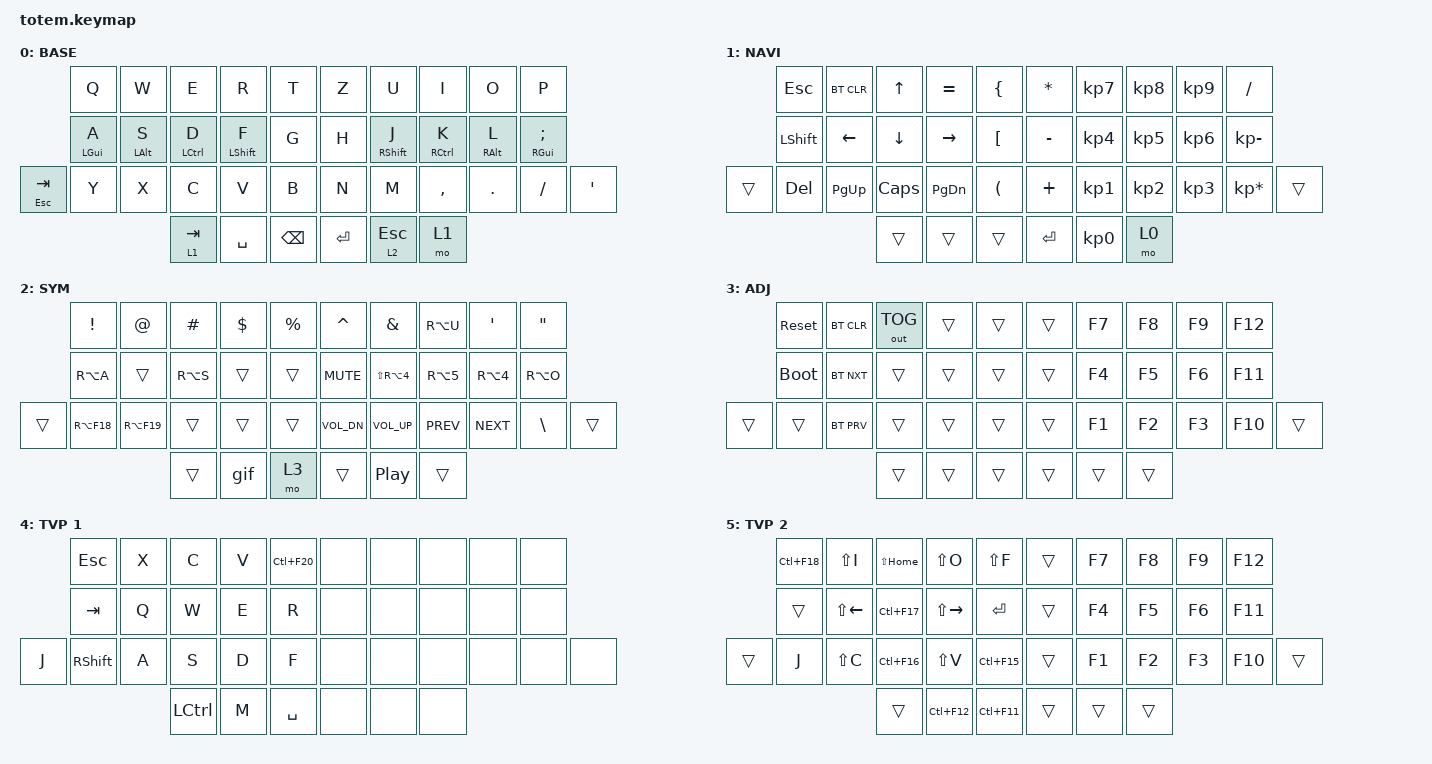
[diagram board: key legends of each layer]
//
//                                                        ▀▀▀▀▀     ▀▀▀▀▀          ▀▀█▀▀
//                                                        ▄▀▀▀▄  ▄  ▄▀▀▀▄  ▄  ▄▀▀▀▄  █  ▄▀▀▀▄
//                                                        █   █  █  █   █  █  █   █  █  █   █
//                                                         ▀▀▀   █   ▀▀▀   █   ▀▀▀   ▀   ▀▀▀
//                                                               █      ▄▄▄█▄▄▄    █   █  
//                                                               ▀      █  █  █     █▄█
//                                                             ▀▀▀▀▀    █  █  █      ▀
//                                                                      ▀  ▀  ▀
//
// ▄▄▄▄▄▄▄▄▄▄▄▄▄▄▄▄▄▄▄▄▄▄▄▄▄▄▄▄▄▄▄▄▄▄▄▄▄▄▄▄▄▄▄▄▄▄▄▄▄▄▄▄▄▄▄▄▄▄▄▄▄▄▄▄▄▄▄▄▄▄▄▄▄▄▄▄▄▄▄▄▄▄▄▄▄▄▄▄▄▄▄▄▄▄▄▄▄▄▄▄▄▄▄▄▄▄▄▄▄▄▄▄▄▄▄▄▄▄▄▄▄▄▄▄▄▄▄▄▄▄▄▄▄▄▄▄▄▄▄▄▄▄▄▄▄▄▄▄▄

#include <behaviors.dtsi>
#include <dt-bindings/zmk/bt.h>
#include <dt-bindings/zmk/keys.h>
#include <dt-bindings/zmk/outputs.h>

#define BASE 0
#define NAV  1
#define SYM  2
#define ADJ  3
#define TVP1 4
#define TVP2 5

&mt {
    quick-tap-ms = <100>;
    global-quick-tap;
    flavor = "tap-preferred";
    tapping-term-ms = <170>;
};

/ {
    combos {
        compatible = "zmk,combos";

        combo_esc {
            timeout-ms = <50>;
            key-positions = <0 1>;
            bindings = <&kp ESC>;
        };

        combo_tvp {
            timeout-ms = <100>;
            key-positions = <11 12 13>;
            bindings = <&tog 4>;
        };
    };

    macros {
        gif: gif {
            label = "giphy";
            compatible = "zmk,behavior-macro";
            #binding-cells = <0>;
            bindings =
                <&macro_press>,
                <&kp LSHFT>,
                <&macro_tap>,
                <&kp N2>,
                <&macro_release>,
                <&kp LSHFT>,
                <&macro_tap>,
                <&kp G &kp I &kp F>;
        };
    };

    keymap {
        compatible = "zmk,keymap";

        // ▄▄▄▄▄▄▄▄▄▄▄▄▄▄▄▄▄▄▄▄▄▄▄▄▄▄▄▄▄▄▄▄▄▄▄▄▄▄▄▄▄▄▄▄▄▄▄▄▄▄▄▄▄▄▄▄▄▄▄▄▄▄▄▄▄▄▄▄▄▄▄▄▄▄▄▄▄▄▄▄▄▄▄▄▄▄▄▄▄▄▄▄▄▄▄▄▄▄▄▄▄▄▄▄▄▄▄▄▄▄▄▄▄▄▄▄▄▄▄▄▄▄▄▄▄▄▄▄▄▄▄▄▄▄▄▄▄▄▄▄▄▄▄▄▄▄▄▄▄

        base_layer {
            // ┏━━━━━━━━━━━━━━━━━━━━━━━━━━━━━━━━━━━━━━━┓

            label = "BASE";

            // ┗━━━━━━━━━━━━━━━━━━━━━━━━━━━━━━━━━━━━━━━┛
            //             ┏━━━━━━━━━━━┳━━━━━━━━━━━┳━━━━━━━━━━━┳━━━━━━━━━━━┳━━━━━━━━━━━┓   ┏━━━━━━━━━━━┳━━━━━━━━━━━┳━━━━━━━━━━━┳━━━━━━━━━━━┳━━━━━━━━━━━┓
            //             ┃     Q     ┃     W     ┃     F     ┃     P     ┃     G     ┃   ┃     J     ┃     L     ┃     U     ┃     Y     ┃     ;     ┃
            //             ┣━━━━━━━━━━━╋━━━━━━━━━━━╋━━━━━━━━━━━╋━━━━━━━━━━━╋━━━━━━━━━━━┫   ┣━━━━━━━━━━━╋━━━━━━━━━━━╋━━━━━━━━━━━╋━━━━━━━━━━━╋━━━━━━━━━━━┫
            //             ┃     A     ┃     R     ┃     S     ┃     T     ┃     D     ┃   ┃     H     ┃     N     ┃     E     ┃     I     ┃     O     ┃
            // ┏━━━━━━━━━━━╋━━━━━━━━━━━╋━━━━━━━━━━━╋━━━━━━━━━━━╋━━━━━━━━━━━╋━━━━━━━━━━━┫   ┣━━━━━━━━━━━╋━━━━━━━━━━━╋━━━━━━━━━━━╋━━━━━━━━━━━╋━━━━━━━━━━━╋━━━━━━━━━━━┓
            // ┃     Q     ┃     Z     ┃     X     ┃     C     ┃     V     ┃     B     ┃   ┃     K     ┃     M     ┃     ,     ┃     .     ┃     /     ┃     \     ┃
            // ┗━━━━━━━━━━━┻━━━━━━━━━━━┻━━━━━━━━━━━╋━━━━━━━━━━━╋━━━━━━━━━━━╋━━━━━━━━━━━┫   ┣━━━━━━━━━━━╋━━━━━━━━━━━╋━━━━━━━━━━━╋━━━━━━━━━━━┻━━━━━━━━━━━┻━━━━━━━━━━━┛
            //                                     ┃    DEL    ┃    TAB    ┃    SPC    ┃   ┃   ENTER   ┃           ┃   BSPC    ┃
            //                                     ┗━━━━━━━━━━━┻━━━━━━━━━━━┻━━━━━━━━━━━┛   ┗━━━━━━━━━━━┻━━━━━━━━━━━┻━━━━━━━━━━━┛

            bindings = <
             &kp Q       &kp W       &kp E        &kp R        &kp T            &kp Z    &kp U        &kp I        &kp O       &kp P
             &mt LGUI A  &mt LALT S  &mt LCTRL D  &mt LSHFT F  &kp G            &kp H    &mt RSHFT J  &mt RCTRL K  &mt RALT L  &mt RGUI SEMI
&mt ESC TAB  &kp Y       &kp X       &kp C        &kp V        &kp B            &kp N    &kp M        &kp COMMA    &kp DOT     &kp FSLH       &kp SINGLE_QUOTE
                                     &lt 1 TAB    &kp SPACE    &kp BACKSPACE    &kp RET  &lt 2 ESC    &mo 1
            >;
        };

        // ▄▄▄▄▄▄▄▄▄▄▄▄▄▄▄▄▄▄▄▄▄▄▄▄▄▄▄▄▄▄▄▄▄▄▄▄▄▄▄▄▄▄▄▄▄▄▄▄▄▄▄▄▄▄▄▄▄▄▄▄▄▄▄▄▄▄▄▄▄▄▄▄▄▄▄▄▄▄▄▄▄▄▄▄▄▄▄▄▄▄▄▄▄▄▄▄▄▄▄▄▄▄▄▄▄▄▄▄▄▄▄▄▄▄▄▄▄▄▄▄▄▄▄▄▄▄▄▄▄▄▄▄▄▄▄▄▄▄▄▄▄▄▄▄▄▄▄▄▄

        nav_layer {
            // ┏━━━━━━━━━━━━━━━━━━━━━━━━━━━━━━━━━━━━━━━┓

            label = "NAVI";

            // ┗━━━━━━━━━━━━━━━━━━━━━━━━━━━━━━━━━━━━━━━┛
            //             ┏━━━━━━━━━━━┳━━━━━━━━━━━┳━━━━━━━━━━━┳━━━━━━━━━━━┳━━━━━━━━━━━┓   ┏━━━━━━━━━━━┳━━━━━━━━━━━┳━━━━━━━━━━━┳━━━━━━━━━━━┳━━━━━━━━━━━┓
            //             ┃           ┃           ┃     UP    ┃           ┃     {     ┃   ┃     }     ┃     7     ┃     8     ┃     9     ┃     +     ┃
            //             ┣━━━━━━━━━━━╋━━━━━━━━━━━╋━━━━━━━━━━━╋━━━━━━━━━━━╋━━━━━━━━━━━┫   ┣━━━━━━━━━━━╋━━━━━━━━━━━╋━━━━━━━━━━━╋━━━━━━━━━━━╋━━━━━━━━━━━┫
            //             ┃   SHIFT   ┃   LEFT    ┃    DOWN   ┃   RIGHT   ┃     [     ┃   ┃     ]     ┃     4     ┃     5     ┃     6     ┃     -     ┃
            // ┏━━━━━━━━━━━╋━━━━━━━━━━━╋━━━━━━━━━━━╋━━━━━━━━━━━╋━━━━━━━━━━━╋━━━━━━━━━━━┫   ┣━━━━━━━━━━━╋━━━━━━━━━━━╋━━━━━━━━━━━╋━━━━━━━━━━━╋━━━━━━━━━━━╋━━━━━━━━━━━┓
            // ┃           ┃           ┃   P UP    ┃  C LOCK   ┃  P DOWN   ┃     (     ┃   ┃     )     ┃     1     ┃     2     ┃     3     ┃     *     ┃           ┃
            // ┗━━━━━━━━━━━┻━━━━━━━━━━━┻━━━━━━━━━━━╋━━━━━━━━━━━╋━━━━━━━━━━━╋━━━━━━━━━━━┫   ┣━━━━━━━━━━━╋━━━━━━━━━━━╋━━━━━━━━━━━╋━━━━━━━━━━━┻━━━━━━━━━━━┻━━━━━━━━━━━┛
            //                                     ┃           ┃    TAB    ┃    SPC    ┃   ┃    DEL    ┃     0     ┃           ┃
            //                                     ┗━━━━━━━━━━━┻━━━━━━━━━━━┻━━━━━━━━━━━┛   ┗━━━━━━━━━━━┻━━━━━━━━━━━┻━━━━━━━━━━━┛

            bindings = <
        &kp ESC    &bt BT_CLR  &kp UP    &kp EQUAL  &kp LBRC    &kp ASTERISK  &kp KP_N7  &kp KP_N8  &kp KP_N9  &kp SLASH
        &kp LSHFT  &kp LEFT    &kp DOWN  &kp RIGHT  &kp LBKT    &kp MINUS     &kp KP_N4  &kp KP_N5  &kp KP_N6  &kp KP_MINUS
&trans  &kp DEL    &kp PG_UP   &kp CAPS  &kp PG_DN  &kp LPAR    &kp PLUS      &kp KP_N1  &kp KP_N2  &kp KP_N3  &kp KP_MULTIPLY  &trans
                               &trans    &trans     &trans      &kp ENTER     &kp KP_N0  &mo 0
            >;
        };

        // ▄▄▄▄▄▄▄▄▄▄▄▄▄▄▄▄▄▄▄▄▄▄▄▄▄▄▄▄▄▄▄▄▄▄▄▄▄▄▄▄▄▄▄▄▄▄▄▄▄▄▄▄▄▄▄▄▄▄▄▄▄▄▄▄▄▄▄▄▄▄▄▄▄▄▄▄▄▄▄▄▄▄▄▄▄▄▄▄▄▄▄▄▄▄▄▄▄▄▄▄▄▄▄▄▄▄▄▄▄▄▄▄▄▄▄▄▄▄▄▄▄▄▄▄▄▄▄▄▄▄▄▄▄▄▄▄▄▄▄▄▄▄▄▄▄▄▄▄▄

        sim_layer {
            // ┏━━━━━━━━━━━━━━━━━━━━━━━━━━━━━━━━━━━━━━━┓

            label = "SYM";

            // ┗━━━━━━━━━━━━━━━━━━━━━━━━━━━━━━━━━━━━━━━┛
            //             ┏━━━━━━━━━━━┳━━━━━━━━━━━┳━━━━━━━━━━━┳━━━━━━━━━━━┳━━━━━━━━━━━┓   ┏━━━━━━━━━━━┳━━━━━━━━━━━┳━━━━━━━━━━━┳━━━━━━━━━━━┳━━━━━━━━━━━┓
            //             ┃     !     ┃     @     ┃     #     ┃     $     ┃     %     ┃   ┃     ˆ     ┃     &     ┃     Ü     ┃     '     ┃     "     ┃
            //             ┣━━━━━━━━━━━╋━━━━━━━━━━━╋━━━━━━━━━━━╋━━━━━━━━━━━╋━━━━━━━━━━━┫   ┣━━━━━━━━━━━╋━━━━━━━━━━━╋━━━━━━━━━━━╋━━━━━━━━━━━╋━━━━━━━━━━━┫
            //             ┃     Ä     ┃           ┃    SZ     ┃           ┃           ┃   ┃   MUTE    ┃   YEN     ┃   EURO    ┃  POUND    ┃     Ö     ┃
            // ┏━━━━━━━━━━━╋━━━━━━━━━━━╋━━━━━━━━━━━╋━━━━━━━━━━━╋━━━━━━━━━━━╋━━━━━━━━━━━┫   ┣━━━━━━━━━━━╋━━━━━━━━━━━╋━━━━━━━━━━━╋━━━━━━━━━━━╋━━━━━━━━━━━╋━━━━━━━━━━━┓
            // ┃           ┃  EMAIL1   ┃  EMAIL2   ┃           ┃           ┃           ┃   ┃   VOL-    ┃   VOL+    ┃   LAST    ┃   NEXT    ┃     \     ┃           ┃
            // ┗━━━━━━━━━━━┻━━━━━━━━━━━┻━━━━━━━━━━━╋━━━━━━━━━━━╋━━━━━━━━━━━╋━━━━━━━━━━━┫   ┣━━━━━━━━━━━╋━━━━━━━━━━━╋━━━━━━━━━━━╋━━━━━━━━━━━┻━━━━━━━━━━━┻━━━━━━━━━━━┛
            //                                     ┃           ┃    GIF    ┃    ADJ    ┃   ┃           ┃           ┃           ┃
            //                                     ┗━━━━━━━━━━━┻━━━━━━━━━━━┻━━━━━━━━━━━┛   ┗━━━━━━━━━━━┻━━━━━━━━━━━┻━━━━━━━━━━━┛

            bindings = <
        &kp EXCL     &kp AT       &kp HASH   &kp DLLR  &kp PRCNT    &kp CARET     &kp AMPS        &kp RA(U)   &kp SQT     &kp DQT
        &kp RA(A)    &trans       &kp RA(S)  &trans    &trans       &kp C_MUTE    &kp LS(RA(N4))  &kp RA(N5)  &kp RA(N4)  &kp RA(O)
&trans  &kp RA(F18)  &kp RA(F19)  &trans     &trans    &trans       &kp C_VOL_DN  &kp C_VOL_UP    &kp C_PREV  &kp C_NEXT  &kp BSLH   &trans
                                  &trans     &gif      &mo 3        &trans        &kp C_PP        &trans
            >;
        };

        // ▄▄▄▄▄▄▄▄▄▄▄▄▄▄▄▄▄▄▄▄▄▄▄▄▄▄▄▄▄▄▄▄▄▄▄▄▄▄▄▄▄▄▄▄▄▄▄▄▄▄▄▄▄▄▄▄▄▄▄▄▄▄▄▄▄▄▄▄▄▄▄▄▄▄▄▄▄▄▄▄▄▄▄▄▄▄▄▄▄▄▄▄▄▄▄▄▄▄▄▄▄▄▄▄▄▄▄▄▄▄▄▄▄▄▄▄▄▄▄▄▄▄▄▄▄▄▄▄▄▄▄▄▄▄▄▄▄▄▄▄▄▄▄▄▄▄▄▄▄

        adjust_layer {
            // ┏━━━━━━━━━━━━━━━━━━━━━━━━━━━━━━━━━━━━━━━┓

            label = "ADJ";

            // ┗━━━━━━━━━━━━━━━━━━━━━━━━━━━━━━━━━━━━━━━┛
            //             ┏━━━━━━━━━━━┳━━━━━━━━━━━┳━━━━━━━━━━━┳━━━━━━━━━━━┳━━━━━━━━━━━┓   ┏━━━━━━━━━━━┳━━━━━━━━━━━┳━━━━━━━━━━━┳━━━━━━━━━━━┳━━━━━━━━━━━┓
            //             ┃   RESET   ┃ BT CLEAR  ┃  OUT TOG  ┃           ┃           ┃   ┃           ┃    F7     ┃    F8     ┃    F9     ┃    F12    ┃
            //             ┣━━━━━━━━━━━╋━━━━━━━━━━━╋━━━━━━━━━━━╋━━━━━━━━━━━╋━━━━━━━━━━━┫   ┣━━━━━━━━━━━╋━━━━━━━━━━━╋━━━━━━━━━━━╋━━━━━━━━━━━╋━━━━━━━━━━━┫
            //             ┃ BOOTLOAD  ┃ BT NEXT   ┃           ┃           ┃           ┃   ┃           ┃    F4     ┃    F5     ┃    F6     ┃    F11    ┃
            // ┏━━━━━━━━━━━╋━━━━━━━━━━━╋━━━━━━━━━━━╋━━━━━━━━━━━╋━━━━━━━━━━━╋━━━━━━━━━━━┫   ┣━━━━━━━━━━━╋━━━━━━━━━━━╋━━━━━━━━━━━╋━━━━━━━━━━━╋━━━━━━━━━━━╋━━━━━━━━━━━┓
            // ┃           ┃           ┃ BT PREV   ┃           ┃           ┃           ┃   ┃           ┃    F1     ┃    F2     ┃    F3     ┃    F10    ┃           ┃
            // ┗━━━━━━━━━━━┻━━━━━━━━━━━┻━━━━━━━━━━━╋━━━━━━━━━━━╋━━━━━━━━━━━╋━━━━━━━━━━━┫   ┣━━━━━━━━━━━╋━━━━━━━━━━━╋━━━━━━━━━━━╋━━━━━━━━━━━┻━━━━━━━━━━━┻━━━━━━━━━━━┛
            //                                     ┃           ┃           ┃           ┃   ┃           ┃           ┃           ┃
            //                                     ┗━━━━━━━━━━━┻━━━━━━━━━━━┻━━━━━━━━━━━┛   ┗━━━━━━━━━━━┻━━━━━━━━━━━┻━━━━━━━━━━━┛

            bindings = <
        &sys_reset   &bt BT_CLR  &out OUT_TOG  &trans  &trans    &trans  &kp F7  &kp F8  &kp F9  &kp F12
        &bootloader  &bt BT_NXT  &trans        &trans  &trans    &trans  &kp F4  &kp F5  &kp F6  &kp F11
&trans  &trans       &bt BT_PRV  &trans        &trans  &trans    &trans  &kp F1  &kp F2  &kp F3  &kp F10  &trans
                                 &trans        &trans  &trans    &trans  &trans  &trans
            >;
        };

        // ▄▄▄▄▄▄▄▄▄▄▄▄▄▄▄▄▄▄▄▄▄▄▄▄▄▄▄▄▄▄▄▄▄▄▄▄▄▄▄▄▄▄▄▄▄▄▄▄▄▄▄▄▄▄▄▄▄▄▄▄▄▄▄▄▄▄▄▄▄▄▄▄▄▄▄▄▄▄▄▄▄▄▄▄▄▄▄▄▄▄▄▄▄▄▄▄▄▄▄▄▄▄▄▄▄▄▄▄▄▄▄▄▄▄▄▄▄▄▄▄▄▄▄▄▄▄▄▄▄▄▄▄▄▄▄▄▄▄▄▄▄▄▄▄▄▄▄▄▄

        GameLayer {
            // ┏━━━━━━━━━━━━━━━━━━━━━━━━━━━━━━━━━━━━━━━┓

            label = "TVP 1";

            // ┗━━━━━━━━━━━━━━━━━━━━━━━━━━━━━━━━━━━━━━━┛
            //             ┏━━━━━━━━━━━┳━━━━━━━━━━━┳━━━━━━━━━━━┳━━━━━━━━━━━┳━━━━━━━━━━━┓   ┏━━━━━━━━━━━┳━━━━━━━━━━━┳━━━━━━━━━━━┳━━━━━━━━━━━┳━━━━━━━━━━━┓
            //             ┃ NEXT FILE ┃ MARK IN   ┃ ROTATE    ┃ MARK OUT  ┃ SHOW SNAP ┃   ┃           ┃           ┃           ┃           ┃           ┃
            //             ┣━━━━━━━━━━━╋━━━━━━━━━━━╋━━━━━━━━━━━╋━━━━━━━━━━━╋━━━━━━━━━━━┫   ┣━━━━━━━━━━━╋━━━━━━━━━━━╋━━━━━━━━━━━╋━━━━━━━━━━━╋━━━━━━━━━━━┫
            //             ┃ TVP II    ┃ LEFT      ┃ PAN       ┃ RIGHT     ┃ PLAY/FLIP ┃   ┃           ┃           ┃           ┃           ┃           ┃
            // ┏━━━━━━━━━━━╋━━━━━━━━━━━╋━━━━━━━━━━━╋━━━━━━━━━━━╋━━━━━━━━━━━╋━━━━━━━━━━━┫   ┣━━━━━━━━━━━╋━━━━━━━━━━━╋━━━━━━━━━━━╋━━━━━━━━━━━╋━━━━━━━━━━━╋━━━━━━━━━━━┓
            // ┃ FULLSCR   ┃ SHIFT     ┃ COPY      ┃ DELETE    ┃ PASTE     ┃ IMG MARK  ┃   ┃           ┃           ┃           ┃           ┃           ┃           ┃
            // ┗━━━━━━━━━━━┻━━━━━━━━━━━┻━━━━━━━━━━━╋━━━━━━━━━━━╋━━━━━━━━━━━╋━━━━━━━━━━━┫   ┣━━━━━━━━━━━╋━━━━━━━━━━━╋━━━━━━━━━━━╋━━━━━━━━━━━┻━━━━━━━━━━━┻━━━━━━━━━━━┛
            //                                     ┃           ┃ UNDO/SAVE ┃  SEL/MOV  ┃   ┃           ┃           ┃           ┃
            //                                     ┗━━━━━━━━━━━┻━━━━━━━━━━━┻━━━━━━━━━━━┛   ┗━━━━━━━━━━━┻━━━━━━━━━━━┻━━━━━━━━━━━┛

            bindings = <
       &kp ESC          &kp X  &kp C      &kp V  &kp LC(F20)    &none  &none  &none  &none  &none
       &kp TAB          &kp Q  &kp W      &kp E  &kp R          &none  &none  &none  &none  &none
&kp J  &kp RIGHT_SHIFT  &kp A  &kp S      &kp D  &kp F          &none  &none  &none  &none  &none  &none
                               &kp LCTRL  &kp M  &kp SPACE      &none  &none  &none
            >;
        };

        // ▄▄▄▄▄▄▄▄▄▄▄▄▄▄▄▄▄▄▄▄▄▄▄▄▄▄▄▄▄▄▄▄▄▄▄▄▄▄▄▄▄▄▄▄▄▄▄▄▄▄▄▄▄▄▄▄▄▄▄▄▄▄▄▄▄▄▄▄▄▄▄▄▄▄▄▄▄▄▄▄▄▄▄▄▄▄▄▄▄▄▄▄▄▄▄▄▄▄▄▄▄▄▄▄▄▄▄▄▄▄▄▄▄▄▄▄▄▄▄▄▄▄▄▄▄▄▄▄▄▄▄▄▄▄▄▄▄▄▄▄▄▄▄▄▄▄▄▄▄

        tvp2_layer {
            // ┏━━━━━━━━━━━━━━━━━━━━━━━━━━━━━━━━━━━━━━━┓

            label = "TVP 2";

            // ┗━━━━━━━━━━━━━━━━━━━━━━━━━━━━━━━━━━━━━━━┛
            //             ┏━━━━━━━━━━━┳━━━━━━━━━━━┳━━━━━━━━━━━┳━━━━━━━━━━━┳━━━━━━━━━━━┓   ┏━━━━━━━━━━━┳━━━━━━━━━━━┳━━━━━━━━━━━┳━━━━━━━━━━━┳━━━━━━━━━━━┓
            //             ┃ SOLO      ┃ TOGGLE IN ┃ RESET ROT ┃ TOGGLE OUT┃ TAKE SNAP ┃   ┃           ┃           ┃           ┃           ┃           ┃
            //             ┣━━━━━━━━━━━╋━━━━━━━━━━━╋━━━━━━━━━━━╋━━━━━━━━━━━╋━━━━━━━━━━━┫   ┣━━━━━━━━━━━╋━━━━━━━━━━━╋━━━━━━━━━━━╋━━━━━━━━━━━╋━━━━━━━━━━━┫
            //             ┃ ---       ┃ LAST KEY  ┃ NEW KEY   ┃ NEXT KEY  ┃ ENTER     ┃   ┃           ┃           ┃           ┃           ┃           ┃
            // ┏━━━━━━━━━━━╋━━━━━━━━━━━╋━━━━━━━━━━━╋━━━━━━━━━━━╋━━━━━━━━━━━╋━━━━━━━━━━━┫   ┣━━━━━━━━━━━╋━━━━━━━━━━━╋━━━━━━━━━━━╋━━━━━━━━━━━╋━━━━━━━━━━━╋━━━━━━━━━━━┓
            // ┃           ┃ FULLSCR   ┃ CPY2BRUSH ┃ DEL HEAD  ┃ PSTinPLACE┃ BOOK MARK ┃   ┃           ┃           ┃           ┃           ┃           ┃           ┃
            // ┗━━━━━━━━━━━┻━━━━━━━━━━━┻━━━━━━━━━━━╋━━━━━━━━━━━╋━━━━━━━━━━━╋━━━━━━━━━━━┫   ┣━━━━━━━━━━━╋━━━━━━━━━━━╋━━━━━━━━━━━╋━━━━━━━━━━━┻━━━━━━━━━━━┻━━━━━━━━━━━┛
            //                                     ┃           ┃ REDO/SAV1 ┃TRANS/WARP ┃   ┃           ┃           ┃           ┃
            //                                     ┗━━━━━━━━━━━┻━━━━━━━━━━━┻━━━━━━━━━━━┛   ┗━━━━━━━━━━━┻━━━━━━━━━━━┻━━━━━━━━━━━┛

            bindings = <
        &kp LC(F18)  &kp LS(I)     &kp LS(HOME)  &kp LS(O)      &kp LS(F)      &trans  &kp F7  &kp F8  &kp F9  &kp F12
        &trans       &kp LS(LEFT)  &kp LC(F17)   &kp LS(RIGHT)  &kp RET        &trans  &kp F4  &kp F5  &kp F6  &kp F11
&trans  &kp J        &kp LS(C)     &kp LC(F16)   &kp LS(V)      &kp LC(F15)    &trans  &kp F1  &kp F2  &kp F3  &kp F10  &trans
                                   &trans        &kp LC(F12)    &kp LC(F11)    &trans  &trans  &trans
            >;
        };
    };
};
